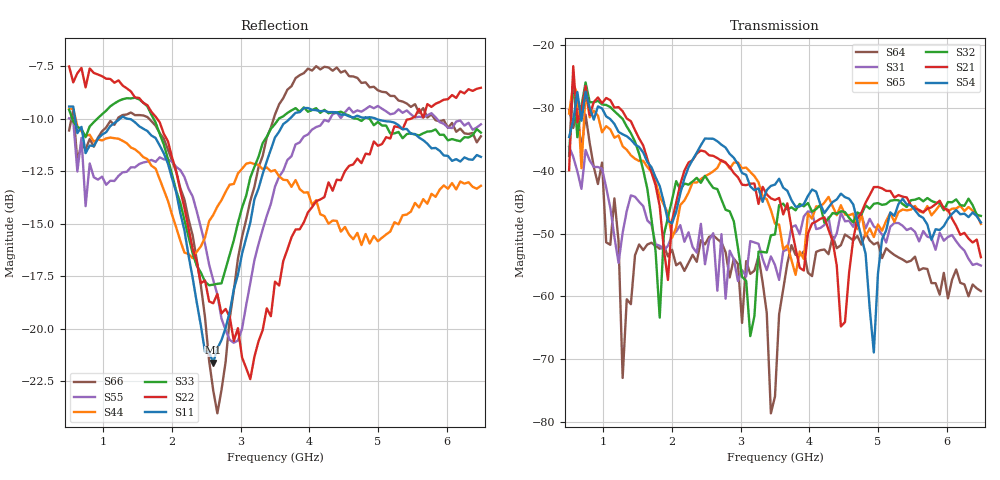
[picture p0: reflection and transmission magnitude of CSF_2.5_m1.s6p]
!Keysight Technologies,M9804A,MY58100912,A.14.10.03
!Date: Thursday, April 27, 2023 10:28:33
!Correction: S11(C  6-Port  )
!S12(C  6-Port  )
!S13(C  6-Port  )
!S14(C  6-Port  )
!S15(C  6-Port  )
!S16(C  6-Port  )
!S21(C  6-Port  )
!S22(C  6-Port  )
!S23(C  6-Port  )
!S24(C  6-Port  )
!S25(C  6-Port  )
!S26(C  6-Port  )
!S31(C  6-Port  )
!S32(C  6-Port  )
!S33(C  6-Port  )
!S34(C  6-Port  )
!S35(C  6-Port  )
!S36(C  6-Port  )
!S41(C  6-Port  )
!S42(C  6-Port  )
!S43(C  6-Port  )
!S44(C  6-Port  )
!S45(C  6-Port  )
!S46(C  6-Port  )
!S51(C  6-Port  )
!S52(C  6-Port  )
!S53(C  6-Port  )
!S54(C  6-Port  )
!S55(C  6-Port  )
!S56(C  6-Port  )
!S61(C  6-Port  )
!S62(C  6-Port  )
!S63(C  6-Port  )
!S64(C  6-Port  )
!S65(C  6-Port  )
!S66(C  6-Port  )
!S6P File: Measurement: :
# Hz S  RI  R 50
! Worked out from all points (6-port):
!   101 points, 500 MHz to 6.5 GHz, reference 50 ohm
!   strongest paths, dB at 500 MHz, 2 GHz, 3.5 GHz, 5 GHz, 6.5 GHz:
!     S54: -34.6, -48.4, -42.2, -56.4, -48.2
!     S21: -39.9, -47.9, -44.6, -42.6, -53.8
!     S32: -37.6, -44.6, -50.1, -45.1, -47.2
!     S65: -30.9, -50.7, -48.4, -48.5, -48.5
!     S31: -36.2, -50.3, -55.0, -49.3, -55.1
!     S64: -30.3, -52.6, -76.0, -51.4, -59.2
!   lowest |S11| = -21.6 dB at 2.6 GHz (marker M1), VSWR 1.18, Z = 42.6 + j2.01 ohm
!   |S11| at or under -10 dB: 587.6 MHz to 1.241 GHz (653.8 MHz wide, 71.5 % of centre); 1.356 GHz to 3.714 GHz (2.358 GHz wide, 93 % of centre); 4.97 GHz to end of sweep
